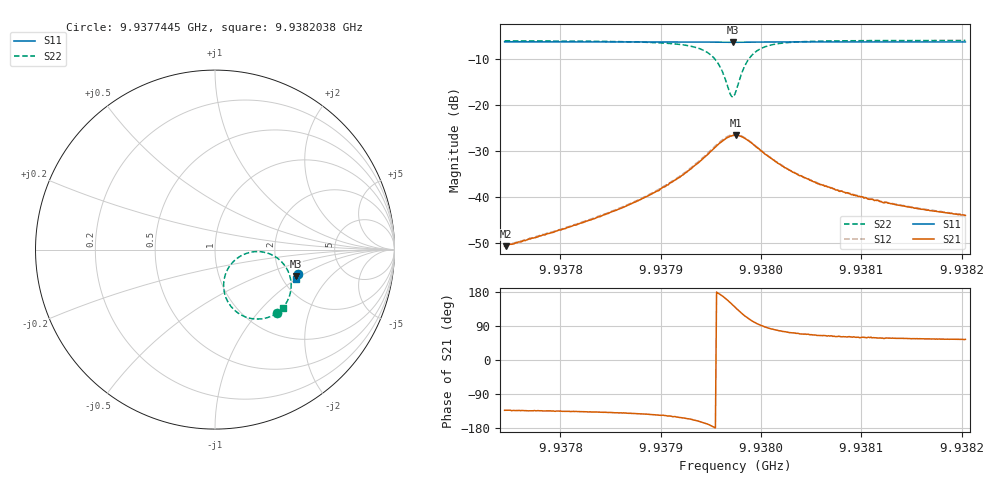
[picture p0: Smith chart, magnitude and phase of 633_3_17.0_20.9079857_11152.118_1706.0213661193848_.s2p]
#  HZ  S  RI  R  50.00
! Rohde & Schwarz Vector Network Analyzer
! Rohde-Schwarz,ZNB20-2Port,1311601062101988,3.16
! Created: UTC 3/20/2024, 11:20:26 PM
! freq[Hz]  re:S11  im:S11  re:S21  im:S21  re:S12  im:S12  re:S22  im:S22
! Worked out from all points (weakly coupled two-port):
!   401 points, 9.9377445 GHz to 9.9382038 GHz, reference 50 ohm
!   highest |S21| = -26.62 dB at 9.9379753 GHz (marker M1); lowest = -50.8 dB at 9.9377456 GHz (marker M2)
!   lowest |S11| = -6.5 dB at 9.9379719 GHz (marker M3), VSWR 2.81, Z = 120 - j46.2 ohm
!   |S11| at or under -10 dB: nowhere
!   |S22| runs from -18.4 to -6.1 dB; largest |S21 - S12| = 0.0023
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9.93774448e9  0.4616 -0.1374  -0.00197 -0.00213  -0.00202 -0.00213  0.3469 -0.3514
9.93774563e9  0.4615 -0.1376  -0.00196 -0.00213  -0.00205 -0.00216  0.3467 -0.3513
9.93782142e9  0.4596 -0.1426  -0.00376 -0.00357  -0.00389 -0.00357  0.3268 -0.3639
9.93786276e9  0.4582 -0.1456  -0.00583 -0.00498  -0.00606 -0.00495  0.306 -0.3738
9.93789836e9  0.457 -0.1484  -0.00962 -0.00656  -0.01 -0.00669  0.2706 -0.3841
9.93792936e9  0.4552 -0.1507  -0.018 -0.00813  -0.0187 -0.0079  0.2 -0.3839
9.93794773e9  0.4534 -0.1517  -0.0288 -0.00502  -0.0298 -0.00439  0.115 -0.3429
9.93795807e9  0.4521 -0.1517  -0.0374 0.00316  -0.0382 0.00432  0.0599 -0.2651
9.93796266e9  0.4514 -0.1511  -0.0398 0.0096  -0.0408 0.0111  0.048 -0.2082
9.93796955e9  0.451 -0.1503  -0.0399 0.0221  -0.04 0.024  0.0715 -0.1079
9.93797185e9  0.451 -0.1498  -0.0379 0.0264  -0.0379 0.0284  0.0931 -0.0769
9.93797415e9  0.4512 -0.1495  -0.0353 0.0301  -0.035 0.0321  0.1207 -0.0506
9.9379753e9  0.4511 -0.1493  -0.034 0.0319  -0.0332 0.0338  0.1364 -0.0395
9.93798104e9  0.4522 -0.1488  -0.0242 0.0377  -0.023 0.0392  0.2225 -0.0115
9.93798563e9  0.453 -0.1487  -0.0165 0.0386  -0.0152 0.0397  0.2853 -0.0177
9.93799137e9  0.4538 -0.1491  -0.00818 0.0369  -0.00707 0.0375  0.3449 -0.0456
9.93799711e9  0.4545 -0.1498  -0.00266 0.0333  -0.00182 0.0339  0.3824 -0.0809
9.93801549e9  0.4552 -0.1519  0.00464 0.0234  0.00515 0.0233  0.4226 -0.1731
9.93805109e9  0.4544 -0.1552  0.00592 0.0136  0.00618 0.0134  0.4166 -0.2534
9.93807635e9  0.4539 -0.1574  0.00555 0.0104  0.00584 0.0103  0.4073 -0.2785
9.93812803e9  0.4524 -0.1611  0.00453 0.00718  0.00469 0.00715  0.3925 -0.3047
9.93820382e9  0.4503 -0.1661  0.00363 0.00507  0.00378 0.0051  0.3789 -0.3232
